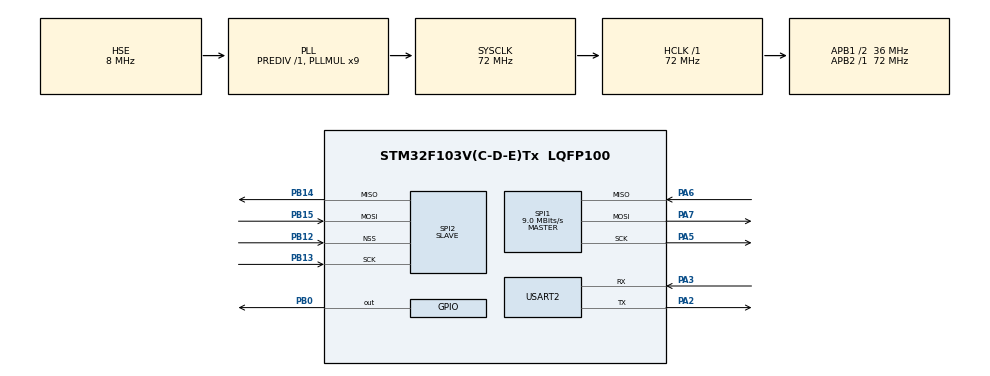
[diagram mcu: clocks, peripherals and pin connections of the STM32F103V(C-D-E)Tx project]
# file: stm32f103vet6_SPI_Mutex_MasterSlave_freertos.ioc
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FREERTOS.Tasks01=defaultTask,0,128,StartDefaultTask,Default,NULL,Dynamic,NULL,NULL;SpiTask1,0,256,StartSpiTask1,Default,NULL,Dynamic,NULL,NULL;SpiTask2,0,256,StartSpiTask2,Default,NULL,Dynamic,NULL,NULL
Mcu.Family=STM32F1
Mcu.Name=STM32F103V(C-D-E)Tx
Mcu.Package=LQFP100
NVIC.PriorityGroup=NVIC_PRIORITYGROUP_4
NVIC.SPI1_IRQn=true\:5\:0\:false\:false\:true\:true\:true\:true\:true
OSC_IN.Mode=HSE-External-Oscillator
OSC_IN.Signal=RCC_OSC_IN
OSC_OUT.Mode=HSE-External-Oscillator
OSC_OUT.Signal=RCC_OSC_OUT
PA13.Mode=Serial_Wire
PA13.Signal=SYS_JTMS-SWDIO
PA14.Mode=Serial_Wire
PA14.Signal=SYS_JTCK-SWCLK
PA2.Mode=Asynchronous
PA2.Signal=USART2_TX
PA3.Mode=Asynchronous
PA3.Signal=USART2_RX
PA5.Mode=Full_Duplex_Master
PA5.Signal=SPI1_SCK
PA6.Mode=Full_Duplex_Master
PA6.Signal=SPI1_MISO
PA7.Mode=Full_Duplex_Master
PA7.Signal=SPI1_MOSI
PB0.PinState=GPIO_PIN_SET
PB0.Signal=GPIO_Output
PB12.Mode=NSS_Signal_Hard_Input
PB12.Signal=SPI2_NSS
PB13.Mode=Full_Duplex_Slave
PB13.Signal=SPI2_SCK
PB14.Mode=Full_Duplex_Slave
PB14.Signal=SPI2_MISO
PB15.Mode=Full_Duplex_Slave
PB15.Signal=SPI2_MOSI
ProjectManager.HeapSize=0x200
ProjectManager.StackSize=0x400
ProjectManager.TargetToolchain=STM32CubeIDE
RCC.AHBFreq_Value=72000000
RCC.APB1CLKDivider=RCC_HCLK_DIV2
RCC.APB1Freq_Value=36000000
RCC.APB1TimFreq_Value=72000000
RCC.APB2Freq_Value=72000000
RCC.APB2TimFreq_Value=72000000
RCC.HCLKFreq_Value=72000000
RCC.PLLMUL=RCC_PLL_MUL9
RCC.PLLSourceVirtual=RCC_PLLSOURCE_HSE
RCC.SYSCLKFreq_VALUE=72000000
RCC.SYSCLKSource=RCC_SYSCLKSOURCE_PLLCLK
RCC.USBFreq_Value=72000000
SPI1.BaudRatePrescaler=SPI_BAUDRATEPRESCALER_8
SPI1.CLKPhase=SPI_PHASE_2EDGE
SPI1.CalculateBaudRate=9.0 MBits/s
SPI1.Direction=SPI_DIRECTION_2LINES
SPI1.Mode=SPI_MODE_MASTER
SPI1.VirtualType=VM_MASTER
SPI2.CLKPhase=SPI_PHASE_2EDGE
SPI2.Direction=SPI_DIRECTION_2LINES
SPI2.Mode=SPI_MODE_SLAVE
SPI2.VirtualNSS=VM_NSSHARD
SPI2.VirtualType=VM_SLAVE
USART2.VirtualMode=VM_ASYNC
VP_FREERTOS_VS_CMSIS_V1.Mode=CMSIS_V1
board=custom

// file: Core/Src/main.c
/* USER CODE BEGIN Header */
/**
  ******************************************************************************
  * @file           : main.c
  * @brief          : Main program body
  ******************************************************************************
  * @attention
  *
  * Copyright (c) 2026 STMicroelectronics.
  * All rights reserved.
  *
  * This software is licensed under terms that can be found in the LICENSE file
  * in the root directory of this software component.
  * If no LICENSE file comes with this software, it is provided AS-IS.
  *
  ******************************************************************************
  */
/* USER CODE END Header */
#include "main.h"
#include "cmsis_os.h"

/* USER CODE BEGIN Includes */
#include "task.h"
#include "semphr.h"
#include <stdio.h>
#include <string.h>

/* USER CODE END Includes */

SPI_HandleTypeDef hspi1;
SPI_HandleTypeDef hspi2;

UART_HandleTypeDef huart2;

osThreadId defaultTaskHandle;
osThreadId SpiTask1Handle;
osThreadId SpiTask2Handle;
/* USER CODE BEGIN PV */
SemaphoreHandle_t spiMutexHandle;
TaskHandle_t spiWaitingTaskHandle = NULL;

volatile uint8_t spiStatus = 0;

uint8_t slaveTx[1];
uint8_t slaveRx[1];

/* USER CODE END PV */

void SystemClock_Config(void);
static void MX_GPIO_Init(void);
static void MX_SPI1_Init(void);
static void MX_SPI2_Init(void);
static void MX_USART2_UART_Init(void);
void StartDefaultTask(void const * argument);
void StartSpiTask1(void const * argument);
void StartSpiTask2(void const * argument);

/* USER CODE BEGIN PFP */
HAL_StatusTypeDef SPI1_Transaction(uint8_t *txBuf,
                                   uint8_t *rxBuf,
                                   uint16_t len,
                                   TickType_t timeout);

/* USER CODE END PFP */

int main(void)
{

  /* MCU Configuration--------------------------------------------------------*/

  /* Reset of all peripherals, Initializes the Flash interface and the Systick. */
  HAL_Init();

  /* Configure the system clock */
  SystemClock_Config();

  /* Initialize all configured peripherals */
  MX_GPIO_Init();
  MX_SPI1_Init();
  MX_SPI2_Init();
  MX_USART2_UART_Init();
  /* USER CODE BEGIN 2 */
  spiMutexHandle = xSemaphoreCreateMutex();
  if (spiMutexHandle == NULL)
  {
      Error_Handler();
  }
  /* USER CODE END 2 */

  /* Create the thread(s) */
  /* definition and creation of defaultTask */
  osThreadDef(defaultTask, StartDefaultTask, osPriorityNormal, 0, 128);
  defaultTaskHandle = osThreadCreate(osThread(defaultTask), NULL);

  /* definition and creation of SpiTask1 */
  osThreadDef(SpiTask1, StartSpiTask1, osPriorityNormal, 0, 256);
  SpiTask1Handle = osThreadCreate(osThread(SpiTask1), NULL);

  /* definition and creation of SpiTask2 */
  osThreadDef(SpiTask2, StartSpiTask2, osPriorityNormal, 0, 256);
  SpiTask2Handle = osThreadCreate(osThread(SpiTask2), NULL);

  /* Start scheduler */
  osKernelStart();

  /* We should never get here as control is now taken by the scheduler */

  /* Infinite loop */
  while (1)
  {

  }
}

void SystemClock_Config(void)
{
  RCC_OscInitTypeDef RCC_OscInitStruct = {0};
  RCC_ClkInitTypeDef RCC_ClkInitStruct = {0};

  /** Initializes the RCC Oscillators according to the specified parameters
  * in the RCC_OscInitTypeDef structure.
  */
  RCC_OscInitStruct.OscillatorType = RCC_OSCILLATORTYPE_HSE;
  RCC_OscInitStruct.HSEState = RCC_HSE_ON;
  RCC_OscInitStruct.HSEPredivValue = RCC_HSE_PREDIV_DIV1;
  RCC_OscInitStruct.HSIState = RCC_HSI_ON;
  RCC_OscInitStruct.PLL.PLLState = RCC_PLL_ON;
  RCC_OscInitStruct.PLL.PLLSource = RCC_PLLSOURCE_HSE;
  RCC_OscInitStruct.PLL.PLLMUL = RCC_PLL_MUL9;
  if (HAL_RCC_OscConfig(&RCC_OscInitStruct) != HAL_OK)
  {
    Error_Handler();
  }

  /** Initializes the CPU, AHB and APB buses clocks
  */
  RCC_ClkInitStruct.ClockType = RCC_CLOCKTYPE_HCLK|RCC_CLOCKTYPE_SYSCLK
                              |RCC_CLOCKTYPE_PCLK1|RCC_CLOCKTYPE_PCLK2;
  RCC_ClkInitStruct.SYSCLKSource = RCC_SYSCLKSOURCE_PLLCLK;
  RCC_ClkInitStruct.AHBCLKDivider = RCC_SYSCLK_DIV1;
  RCC_ClkInitStruct.APB1CLKDivider = RCC_HCLK_DIV2;
  RCC_ClkInitStruct.APB2CLKDivider = RCC_HCLK_DIV1;

  if (HAL_RCC_ClockConfig(&RCC_ClkInitStruct, FLASH_LATENCY_2) != HAL_OK)
  {
    Error_Handler();
  }
}

static void MX_SPI1_Init(void)
{

  /* SPI1 parameter configuration*/
  hspi1.Instance = SPI1;
  hspi1.Init.Mode = SPI_MODE_MASTER;
  hspi1.Init.Direction = SPI_DIRECTION_2LINES;
  hspi1.Init.DataSize = SPI_DATASIZE_8BIT;
  hspi1.Init.CLKPolarity = SPI_POLARITY_LOW;
  hspi1.Init.CLKPhase = SPI_PHASE_2EDGE;
  hspi1.Init.NSS = SPI_NSS_SOFT;
  hspi1.Init.BaudRatePrescaler = SPI_BAUDRATEPRESCALER_8;
  hspi1.Init.FirstBit = SPI_FIRSTBIT_MSB;
  hspi1.Init.TIMode = SPI_TIMODE_DISABLE;
  hspi1.Init.CRCCalculation = SPI_CRCCALCULATION_DISABLE;
  hspi1.Init.CRCPolynomial = 10;
  if (HAL_SPI_Init(&hspi1) != HAL_OK)
  {
    Error_Handler();
  }

}

static void MX_SPI2_Init(void)
{

  /* SPI2 parameter configuration*/
  hspi2.Instance = SPI2;
  hspi2.Init.Mode = SPI_MODE_SLAVE;
  hspi2.Init.Direction = SPI_DIRECTION_2LINES;
  hspi2.Init.DataSize = SPI_DATASIZE_8BIT;
  hspi2.Init.CLKPolarity = SPI_POLARITY_LOW;
  hspi2.Init.CLKPhase = SPI_PHASE_2EDGE;
  hspi2.Init.NSS = SPI_NSS_HARD_INPUT;
  hspi2.Init.FirstBit = SPI_FIRSTBIT_MSB;
  hspi2.Init.TIMode = SPI_TIMODE_DISABLE;
  hspi2.Init.CRCCalculation = SPI_CRCCALCULATION_DISABLE;
  hspi2.Init.CRCPolynomial = 10;
  if (HAL_SPI_Init(&hspi2) != HAL_OK)
  {
    Error_Handler();
  }

}

static void MX_USART2_UART_Init(void)
{

  huart2.Instance = USART2;
  huart2.Init.BaudRate = 115200;
  huart2.Init.WordLength = UART_WORDLENGTH_8B;
  huart2.Init.StopBits = UART_STOPBITS_1;
  huart2.Init.Parity = UART_PARITY_NONE;
  huart2.Init.Mode = UART_MODE_TX_RX;
  huart2.Init.HwFlowCtl = UART_HWCONTROL_NONE;
  huart2.Init.OverSampling = UART_OVERSAMPLING_16;
  if (HAL_UART_Init(&huart2) != HAL_OK)
  {
    Error_Handler();
  }

}

static void MX_GPIO_Init(void)
{
  GPIO_InitTypeDef GPIO_InitStruct = {0};

  /* GPIO Ports Clock Enable */
  __HAL_RCC_GPIOA_CLK_ENABLE();
  __HAL_RCC_GPIOB_CLK_ENABLE();

  /*Configure GPIO pin Output Level */
  HAL_GPIO_WritePin(GPIOB, GPIO_PIN_0, GPIO_PIN_SET);

  /*Configure GPIO pin : PB0 */
  GPIO_InitStruct.Pin = GPIO_PIN_0;
  GPIO_InitStruct.Mode = GPIO_MODE_OUTPUT_PP;
  GPIO_InitStruct.Pull = GPIO_NOPULL;
  GPIO_InitStruct.Speed = GPIO_SPEED_FREQ_LOW;
  HAL_GPIO_Init(GPIOB, &GPIO_InitStruct);

}

/* USER CODE BEGIN 4 */
void HAL_SPI_TxRxCpltCallback(SPI_HandleTypeDef *hspi)
{
    BaseType_t xHigherPriorityTaskWoken = pdFALSE;

    if (hspi->Instance == SPI1)
    {
        spiStatus = 1;
        if (spiWaitingTaskHandle != NULL)
        {
            vTaskNotifyGiveFromISR(spiWaitingTaskHandle, &xHigherPriorityTaskWoken);
            portYIELD_FROM_ISR(xHigherPriorityTaskWoken);
        }
    }
}

void HAL_SPI_ErrorCallback(SPI_HandleTypeDef *hspi)
{
    BaseType_t xHigherPriorityTaskWoken = pdFALSE;

    if (hspi->Instance == SPI1)
    {
        spiStatus = 0xFF;

        if (spiWaitingTaskHandle != NULL)
        {
            vTaskNotifyGiveFromISR(spiWaitingTaskHandle, &xHigherPriorityTaskWoken);
            portYIELD_FROM_ISR(xHigherPriorityTaskWoken);
        }
    }
}

HAL_StatusTypeDef SPI1_Transaction(uint8_t *txBuf,
                                   uint8_t *rxBuf,
                                   uint16_t len,
                                   TickType_t timeout)
{
    HAL_StatusTypeDef retMaster;
    uint32_t t0;
    volatile uint8_t dummy;

    if (xSemaphoreTake(spiMutexHandle, timeout) != pdTRUE)
    {
        return HAL_TIMEOUT;
    }

    if (hspi1.State != HAL_SPI_STATE_READY)
    {
        HAL_SPI_Abort(&hspi1);
    }

    if (hspi2.State != HAL_SPI_STATE_READY)
    {
        HAL_SPI_Abort(&hspi2);
    }

    spiStatus = 0;
    spiWaitingTaskHandle = xTaskGetCurrentTaskHandle();
    ulTaskNotifyTake(pdTRUE, 0);

    slaveTx[0] = 0x5A;
    slaveRx[0] = 0x00;

    /*
     * Reset nhẹ SPI2 slave trước mỗi transaction.
     */
    __HAL_SPI_DISABLE(&hspi2);

    dummy = *((__IO uint8_t *)&hspi2.Instance->DR);
    dummy = *((__IO uint8_t *)&hspi2.Instance->SR);
    (void)dummy;

    __HAL_SPI_ENABLE(&hspi2);
    *((__IO uint8_t *)&hspi2.Instance->DR) = slaveTx[0];

    HAL_GPIO_WritePin(GPIOB, GPIO_PIN_0, GPIO_PIN_RESET);
    for (volatile int i = 0; i < 1000; i++) { __NOP(); }

    retMaster = HAL_SPI_TransmitReceive_IT(&hspi1, txBuf, rxBuf, len);

    if (retMaster != HAL_OK)
    {
        HAL_GPIO_WritePin(GPIOB, GPIO_PIN_0, GPIO_PIN_SET);
        HAL_SPI_Abort(&hspi1);
        HAL_SPI_Abort(&hspi2);
        __HAL_SPI_DISABLE(&hspi2);

        spiWaitingTaskHandle = NULL;
        xSemaphoreGive(spiMutexHandle);
        return retMaster;
    }

    if (ulTaskNotifyTake(pdTRUE, timeout) == 0)
    {
        HAL_GPIO_WritePin(GPIOB, GPIO_PIN_0, GPIO_PIN_SET);
        HAL_SPI_Abort(&hspi1);
        HAL_SPI_Abort(&hspi2);
        __HAL_SPI_DISABLE(&hspi2);

        spiWaitingTaskHandle = NULL;
        xSemaphoreGive(spiMutexHandle);
        return HAL_TIMEOUT;
    }

    t0 = HAL_GetTick();

    while (!__HAL_SPI_GET_FLAG(&hspi2, SPI_FLAG_RXNE))
    {
        if ((HAL_GetTick() - t0) > 2)
        {
            HAL_GPIO_WritePin(GPIOB, GPIO_PIN_0, GPIO_PIN_SET);
            HAL_SPI_Abort(&hspi1);
            HAL_SPI_Abort(&hspi2);
            __HAL_SPI_DISABLE(&hspi2);

            spiWaitingTaskHandle = NULL;
            xSemaphoreGive(spiMutexHandle);
            return HAL_TIMEOUT;
        }
    }

    slaveRx[0] = *((__IO uint8_t *)&hspi2.Instance->DR);

    t0 = HAL_GetTick();
    while (__HAL_SPI_GET_FLAG(&hspi2, SPI_FLAG_BSY))
    {
        if ((HAL_GetTick() - t0) > 10)
        {
            break;
        }
    }

    HAL_GPIO_WritePin(GPIOB, GPIO_PIN_0, GPIO_PIN_SET);
    __HAL_SPI_DISABLE(&hspi2);

    spiWaitingTaskHandle = NULL;
    xSemaphoreGive(spiMutexHandle);

    if (spiStatus == 0xFF)
    {
        return HAL_ERROR;
    }

    return HAL_OK;
}
/* USER CODE END 4 */

void StartDefaultTask(void const * argument)
{
  for(;;)
  {
    osDelay(1);
  }
}

void StartSpiTask1(void const * argument)
{
  /* USER CODE BEGIN StartSpiTask1 */
    uint8_t txBuf[1];
    uint8_t rxBuf[1];
    char msg[96];

  /* Infinite loop */
  for(;;)
  {
      txBuf[0] = 0xA5;
      rxBuf[0] = 0x00;

      if (SPI1_Transaction(txBuf, rxBuf, 1, pdMS_TO_TICKS(100)) == HAL_OK)
      {
    	  snprintf(msg, sizeof(msg),
    	           "Task 1 TX=%02X RX=%02X DEV=%02X \r\n",
    	           txBuf[0], rxBuf[0], slaveRx[0]);
      }
      else
      {
    	  snprintf(msg, sizeof(msg), "Task1 Error \r\n");
      }

      HAL_UART_Transmit(&huart2, (uint8_t*)msg, strlen(msg), HAL_MAX_DELAY);
      osDelay(500);
  }
  /* USER CODE END StartSpiTask1 */
}

void StartSpiTask2(void const * argument)
{
  /* USER CODE BEGIN StartSpiTask2 */
    uint8_t txBuf[1];
    uint8_t rxBuf[1];
    char msg[96];

  /* Infinite loop */
  for(;;)
  {
      txBuf[0] = 0x3C;
      rxBuf[0] = 0x00;

      if (SPI1_Transaction(txBuf, rxBuf, 1, pdMS_TO_TICKS(100)) == HAL_OK)
      {
    	  snprintf(msg, sizeof(msg),
    	           "Task 2 TX=%02X RX=%02X DEV=%02X\r\n",
    	           txBuf[0], rxBuf[0], slaveRx[0]);
      }
      else
      {
    	  snprintf(msg, sizeof(msg), "Task 2 Error \r\n");
      }

      HAL_UART_Transmit(&huart2, (uint8_t*)msg, strlen(msg), HAL_MAX_DELAY);
      osDelay(1000);
  }
  /* USER CODE END StartSpiTask2 */
}

void Error_Handler(void)
{
  __disable_irq();
  while (1)
  {
  }
}
